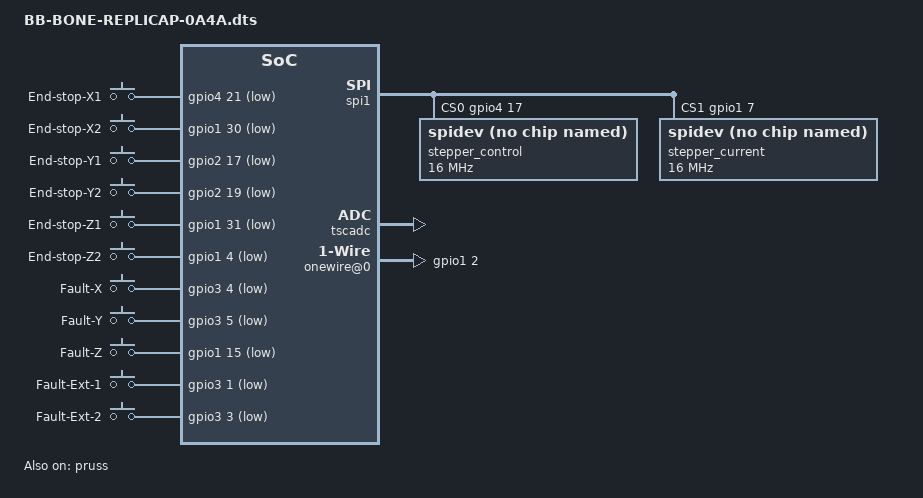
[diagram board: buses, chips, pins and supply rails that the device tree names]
/*
 * Copyright (C) 2013 Intelligent Agent AS	<elias@iagent.no>
 *
 * This program is free software; you can redistribute it and/or modify
 * it under the terms of the GNU General Public License version 2 as
 * published by the Free Software Foundation.
 */
/dts-v1/;
/plugin/;

/ {
	compatible = "ti,beaglebone", "ti,beaglebone-black";

	/* identification */
	part-number = "BB-BONE-REPLICAP";
	version = "0A4A";

	/* state the resources this cape uses */
	exclusive-use =
		/* the pin header P8 uses */
		"P8.8",  /* FAULT_EXT_2	*/
		"P8.9",  /* FAULT_Y 	*/
		"P8.10", /* FAULT_X 	*/
		"P8.11", /* STEP_EXT_2	*/
		"P8.12", /* STEP_Y		*/
		"P8.13", /* STEP_Z		*/
		"P8.14", /* DIR_Z 		*/
		"P8.15", /* DIR_EXT_1 	*/
		"P8.16", /* DIR_EXT_2 	*/
		"P8.17", /* STEP_X 		*/
		"P8.18", /* FAULT_EXT_1	*/
		"P8.19", /* DIR_Y		*/
		"P8.26", /* DIR_X		*/
		/* the pin header P9 uses */
		"P9.11", /* END_STOP_X2	*/
		"P9.12", /* STEP_EXT_1	*/
		"P9.13", /* END_STOP_Z1	*/
		"P9.16", /* END_STOP_Y2 */
		"P9.18", /* END_STOP_Z2	*/
		"P9.22", /* Dallas 1W   */
		"P9.23", /* END_STOP_Y1 */
		"P9.24", /* FAULT_Z		*/
		"P9.25", /* END_STOP_X1	*/
		"P9.28", /* SPI1_CS0 	*/
		"P9.29", /* SPI1_MISO   */
		"P9.30", /* SPI1_MOSI	*/
		"P9.31", /* SPI1_SCLK	*/
		"P9.33", /* AIN4		*/
		"P9.35", /* AIN6		*/
		"P9.36", /* AIN5		*/
		"P9.42"; /* SPI1_CS1	*/

	fragment@0 {
		target = <&am33xx_pinmux>;
		__overlay__ {
			bone_replicape_spi1_pins: pinmux_replicape_spi1_pins {
				pinctrl-single,pins = <
					0x190 0x13	/* P9_31 = mcasp0_aclkx.spi1_sclk				 , OUTPUT_PULLUP | MODE3 */
					0x194 0x33	/* P9_29 = mcasp0_fsx.spi1_d0					 , INPUT_PULLUP  | MODE3 */
					0x198 0x13	/* P9_30 = mcasp0_axr0.spi1_d1					 , OUTPUT_PULLUP | MODE3 */
					0x19c 0x13	/* P9_28 = mcasp0_ahclkr.spi1_cs0				 , OUTPUT_PULLUP | MODE3 */
					0x164 0x12  /* P9_42 = GPIO0_7 =  eCAP0_in_PWM0_out.gpio0[7] , OUTPUT_PULLUP | MODE2 */
				>;
			};
			pruicss_stepper_pins: pinmux_pruicss_stepper_pins{
				pinctrl-single,pins = <
					0x038 0x07 // P8_16 (3)  = DIR_EXT_2	= GPIO1_14
					0x03C 0x07 // P8_15 (4)  = DIR_EXT_1	= GPIO1_15
					0x028 0x07 // P8_14 (5)  = DIR_Z   	 	= GPIO0_26
					0x02C 0x07 // P8_17 (6)  = STEP_X 	 	= GPIO0_27
					0x034 0x07 // P8_11 (22) = step_ext_2 	= GPIO1_13
					0x030 0x07 // P8_12 (23) = Step_y	 	= GPIO1_12
					0x024 0x07 // P8_13 (24) = Step_z	 	= GPIO0_23
					0x020 0x07 // P8_19 (25) = Dir_y 	 	= GPIO0_22
					0x07C 0x07 // P8_26 	 = Dir_x		= GPIO1_29
					0x078 0x07 // P9_12 	 = step ext 1 	= GPIO1_28
				>;
			};

			stepper_fault_pins: pinmux_stepper_fault_pins{
				pinctrl-single,pins = <
					0x094 0x37 // P8_8  = Fault Ext 2 	= GPIO2_3    gpmc_oen_ren.gpio2[3]
					0x09C 0x37 // P8_9  = FAYLT Y		= GPIO2_5
					0x098 0x37 // P8_10 = FAULT X     	= GPIO2_4    gpmc_wen.gpio2[4]
					0x08C 0x37 // P8_18 = Fault_ext 1	= GPIO2_1
					0x184 0x37 // P9_24 = Fault Z		= GPIO0_15
				>;
			};

			end_stop_pins: pinmux_end_stop_pins{
				pinctrl-single,pins = <
					0x1AC 0x37 // P9_25 = End stop X1  = GPIO3_21
					0x070 0x37 // P9_11 = End stop X2  = GPIO0_30
					0x044 0x37 // P9_23 = End stop Y1  = GPIO1_17
					0x04C 0x37 // P9_16 = End stop Y2  = GPIO1_19
					0x074 0x37 // P9_13 = End stop Z1  = GPIO0_31
					0x158 0x37 // P9_18 = End stop Z2  = GPIO0_4
				>;
			};
			dallas_w1_pins: pinmux_dallas_w1_pins {
				pinctrl-single,pins = <
						0x150 0x37	// Dallas 1W
				>;
			};
		};
	};

	fragment@1 {
		target = <&spi1>;
		__overlay__ {
			#address-cells 	= <1>;
			#size-cells 	= <0>;
			status			= "okay";
			pinctrl-names	= "default";
			pinctrl-0		= <&bone_replicape_spi1_pins>;
			cs-gpios 		= <&gpio4 17 0>, <&gpio1 7 0>;

			stepper_control{
				#address-cells 	  = <1>;
				#size-cells 	  = <0>;
				compatible 		  = "spidev";
				reg 			  = <0>;
				spi-max-frequency = <16000000>;
				spi-cpha;		  // Stepper control has mode 1 (CPOL = 0, CPHA = 1)
			};

			stepper_current{
				#address-cells 	  = <1>;
				#size-cells 	  = <0>;
				compatible 		  = "spidev";
				reg 			  = <1>;
				spi-max-frequency = <16000000>;
								  // Stepper current has mode 0 (CPOL = 0, CPHA = 0)
			};
		};
	};

	fragment@2{
		target = <&pruss>;
		__overlay__{
			status = "okay";
			pinctrl-names = "default";
			pinctrl-0 	  = <&pruicss_stepper_pins>;

			stepper_x{
				pin-names 	= "Replic:pru-step_x", "Replic:pru-dir_x";
				gpios 		= <&gpio1 27 0
							   &gpio2 29 0>;
			};
			stepper_y{
				pin-names 	= "Replic:pru-step_y", "Replic:pru-dir_y";
				gpios 		=<&gpio2 12 0
							  &gpio1 22 0>;
			};
			stepper_z{
				pin-names 	= "Replic:pru-step_z", "Replic:pru-dir_z";
				gpios 		= <&gpio1 23 0
							   &gpio1 26 0>;
			};
			stepper_ext_1{
				pin-names 	= "Replic:pru-step_ext_1", "Replic:pru-dir_ext_1";
				gpios 		= <&gpio2 28 0
							   &gpio2 15 0>;
			};
			stepper_ext_2{
				pin-names 	= "Replic:pru-step_ext_2", "Replic:pru-dir_ext_2";
				gpios 		= <&gpio2 13 0
							   &gpio2 14 0>;
			};
		};
	};

	fragment@3 {
		target = <&ocp>;
		__overlay__ {
			#address-cells = <1>;
			#size-cells = <1>;

			tscadc {
				compatible = "ti,ti-tscadc";
				reg = <0x44e0d000 0x1000>;

				interrupt-parent = <&intc>;
				interrupts = <16>;
				ti,hwmods = "adc_tsc";
				status = "okay";

				adc {
					ti,adc-channels = <4 5 6 7>;
				};
			};

			gpio_keys {
				compatible = "gpio-keys";
				pinctrl-names = "default";
				pinctrl-0 = <&end_stop_pins>;
				pinctrl-1 = <&stepper_fault_pins>;
				#address-cells = <1>;
				#size-cells = <0>;

				switch_x1 {
					label = "End-stop-X1";
					debounce_interval = <50>;
					linux,code = <112>;
					gpios = <&gpio4 21 0x5>;
					gpio-key,wakeup;
				};
				switch_x2 {
					label = "End-stop-X2";
					debounce_interval = <50>;
					linux,code = <113>;
					gpios = <&gpio1 30 0x5>;
					gpio-key,wakeup;
				};
				switch_y1 {
					label = "End-stop-Y1";
					debounce_interval = <50>;
					linux,code = <114>;
					gpios = <&gpio2 17 0x5>;
					gpio-key,wakeup;
				};
				switch_y2 {
					label = "End-stop-Y2";
					debounce_interval = <50>;
					linux,code = <115>;
					gpios = <&gpio2 19 0x5>;
					gpio-key,wakeup;
				};
				switch_z1 {
					label = "End-stop-Z1";
					debounce_interval = <50>;
					linux,code = <116>;
					gpios = <&gpio1 31 0x5>;
					gpio-key,wakeup;
				};
				switch_z2 {
					label = "End-stop-Z2";
					debounce_interval = <50>;
					linux,code = <117>;
					gpios = <&gpio1 4 0x5>;
					gpio-key,wakeup;
				};
				fault_x {
					label = "Fault-X";
					debounce_interval = <50>;
					linux,code = <90>;
					gpios = <&gpio3 4 0x5>;
					gpio-key,wakeup;
				};
				fault_y {
					label = "Fault-Y";
					debounce_interval = <50>;
					linux,code = <91>;
					gpios = <&gpio3 5 0x5>;
					gpio-key,wakeup;
				};
				fault_z {
					label = "Fault-Z";
					debounce_interval = <50>;
					linux,code = <92>;
					gpios = <&gpio1 15 0x5>;
					gpio-key,wakeup;
				};
				fault_ext_1 {
					label = "Fault-Ext-1";
					debounce_interval = <50>;
					linux,code = <93>;
					gpios = <&gpio3 1 0x5>;
					gpio-key,wakeup;
				};
				fault_ext_2 {
					label = "Fault-Ext-2";
					debounce_interval = <50>;
					linux,code = <94>;
					gpios = <&gpio3 3 0x5>;
					gpio-key,wakeup;
				};
			};
			onewire@0 {
			   compatible      = "w1-gpio";
			   pinctrl-names   = "default";
			   pinctrl-0       = <&dallas_w1_pins>;
			   status          = "okay";
			   gpios = <&gpio1 2 0>;
			};
		};
	};
};
